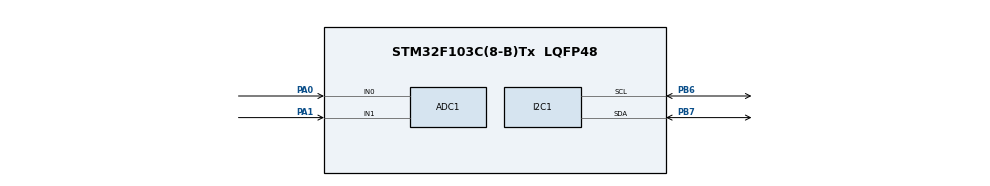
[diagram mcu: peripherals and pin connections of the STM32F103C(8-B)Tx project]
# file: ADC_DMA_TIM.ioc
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Mcu.Family=STM32F1
Dma.ADC1.0.Instance=DMA1_Channel1
ADC1.Rank-0\#ChannelRegularConversion=1
ADC1.ContinuousConvMode=ENABLE
ProjectManager.StackSize=0x400
PA0-WKUP.Signal=ADCx_IN0
PA13.Signal=SYS_JTMS-SWDIO
Dma.ADC1.0.PeriphDataAlignment=DMA_PDATAALIGN_HALFWORD
ProjectManager.TargetToolchain=STM32CubeIDE
Dma.ADC1.0.Mode=DMA_CIRCULAR
Dma.ADC1.0.Priority=DMA_PRIORITY_MEDIUM
PB6.Signal=I2C1_SCL
ADC1.Channel-1\#ChannelRegularConversion=ADC_CHANNEL_1
Dma.ADC1.0.Direction=DMA_PERIPH_TO_MEMORY
PB6.Mode=I2C
Dma.ADC1.0.MemDataAlignment=DMA_MDATAALIGN_HALFWORD
PA1.Signal=ADCx_IN1
ADC1.Channel-0\#ChannelRegularConversion=ADC_CHANNEL_0
board=custom
RCC.APB2Freq_Value=8000000
PA14.Mode=Serial_Wire
Dma.ADC1.0.PeriphInc=DMA_PINC_DISABLE
PB7.Signal=I2C1_SDA
SH.ADCx_IN0.0=ADC1_IN0,IN0
ADC1.NbrOfConversion=2
PA13.Mode=Serial_Wire
Mcu.Name=STM32F103C(8-B)Tx
ADC1.SamplingTime-0\#ChannelRegularConversion=ADC_SAMPLETIME_239CYCLES_5
ADC1.SamplingTime-1\#ChannelRegularConversion=ADC_SAMPLETIME_239CYCLES_5
Mcu.Package=LQFP48
ADC1.master=1
ADC1.Rank-1\#ChannelRegularConversion=2
PB7.Mode=I2C
PA14.Signal=SYS_JTCK-SWCLK
Dma.ADC1.0.MemInc=DMA_MINC_ENABLE
ProjectManager.HeapSize=0x200
NVIC.PriorityGroup=NVIC_PRIORITYGROUP_4
ADC1.NbrOfConversionFlag=1
SH.ADCx_IN1.0=ADC1_IN1,IN1
NVIC.DMA1_Channel1_IRQn=true\:0\:0\:false\:false\:true\:false\:true
Dma.Request0=ADC1
RCC.APB1Freq_Value=8000000

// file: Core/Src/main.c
/* USER CODE BEGIN Header */
/**
  ******************************************************************************
  * @file           : main.c
  * @brief          : Main program body
  ******************************************************************************
  * @attention
  *
  * <h2><center>&copy; Copyright (c) 2021 STMicroelectronics.
  * All rights reserved.</center></h2>
  *
  * This software component is licensed by ST under BSD 3-Clause license,
  * the "License"; You may not use this file except in compliance with the
  * License. You may obtain a copy of the License at:
  *                        opensource.org/licenses/BSD-3-Clause
  *
  ******************************************************************************
  */
/* USER CODE END Header */
#include "main.h"

/* USER CODE BEGIN Includes */
#include "lcd-i2c.h"
#include <stdio.h>
/* USER CODE END Includes */

ADC_HandleTypeDef hadc1;
DMA_HandleTypeDef hdma_adc1;

I2C_HandleTypeDef hi2c1;

/* USER CODE BEGIN PV */
volatile uint16_t adc[64] = {0};
volatile uint8_t flag = 0;
float adc_measure = 0;
float end_temp = 0;
float voltage = 0;

char number[20];
/* USER CODE END PV */

void SystemClock_Config(void);
static void MX_GPIO_Init(void);
static void MX_DMA_Init(void);
static void MX_ADC1_Init(void);
static void MX_I2C1_Init(void);
/* USER CODE BEGIN PFP */
void ADC_Display_Result(void);
/* USER CODE END PFP */

int main(void)
{

  /* MCU Configuration--------------------------------------------------------*/

  /* Reset of all peripherals, Initializes the Flash interface and the Systick. */
  HAL_Init();

  /* Configure the system clock */
  SystemClock_Config();

  /* Initialize all configured peripherals */
  MX_GPIO_Init();
  MX_DMA_Init();
  MX_ADC1_Init();
  MX_I2C1_Init();
  /* USER CODE BEGIN 2 */
  lcd_init();
  HAL_Delay(100);
  lcd_clear();
  HAL_Delay(100);
  lcd_send_string("    Welcome!");
  HAL_Delay(2800);
  lcd_clear();

  HAL_ADCEx_Calibration_Start(&hadc1);
  HAL_ADC_Start_DMA(&hadc1, (uint32_t*)&adc, 64);
  /* USER CODE END 2 */

  /* Infinite loop */
  /* USER CODE BEGIN WHILE */
  while (1)
  {
	  ADC_Display_Result();
    /* USER CODE END WHILE */

  }
}

void SystemClock_Config(void)
{
  RCC_OscInitTypeDef RCC_OscInitStruct = {0};
  RCC_ClkInitTypeDef RCC_ClkInitStruct = {0};
  RCC_PeriphCLKInitTypeDef PeriphClkInit = {0};

  /** Initializes the RCC Oscillators according to the specified parameters
  * in the RCC_OscInitTypeDef structure.
  */
  RCC_OscInitStruct.OscillatorType = RCC_OSCILLATORTYPE_HSI;
  RCC_OscInitStruct.HSIState = RCC_HSI_ON;
  RCC_OscInitStruct.HSICalibrationValue = RCC_HSICALIBRATION_DEFAULT;
  RCC_OscInitStruct.PLL.PLLState = RCC_PLL_NONE;
  if (HAL_RCC_OscConfig(&RCC_OscInitStruct) != HAL_OK)
  {
    Error_Handler();
  }
  /** Initializes the CPU, AHB and APB buses clocks
  */
  RCC_ClkInitStruct.ClockType = RCC_CLOCKTYPE_HCLK|RCC_CLOCKTYPE_SYSCLK
                              |RCC_CLOCKTYPE_PCLK1|RCC_CLOCKTYPE_PCLK2;
  RCC_ClkInitStruct.SYSCLKSource = RCC_SYSCLKSOURCE_HSI;
  RCC_ClkInitStruct.AHBCLKDivider = RCC_SYSCLK_DIV1;
  RCC_ClkInitStruct.APB1CLKDivider = RCC_HCLK_DIV1;
  RCC_ClkInitStruct.APB2CLKDivider = RCC_HCLK_DIV1;

  if (HAL_RCC_ClockConfig(&RCC_ClkInitStruct, FLASH_LATENCY_0) != HAL_OK)
  {
    Error_Handler();
  }
  PeriphClkInit.PeriphClockSelection = RCC_PERIPHCLK_ADC;
  PeriphClkInit.AdcClockSelection = RCC_ADCPCLK2_DIV2;
  if (HAL_RCCEx_PeriphCLKConfig(&PeriphClkInit) != HAL_OK)
  {
    Error_Handler();
  }
}

static void MX_ADC1_Init(void)
{

  ADC_ChannelConfTypeDef sConfig = {0};

  /** Common config
  */
  hadc1.Instance = ADC1;
  hadc1.Init.ScanConvMode = ADC_SCAN_ENABLE;
  hadc1.Init.ContinuousConvMode = ENABLE;
  hadc1.Init.DiscontinuousConvMode = DISABLE;
  hadc1.Init.ExternalTrigConv = ADC_SOFTWARE_START;
  hadc1.Init.DataAlign = ADC_DATAALIGN_RIGHT;
  hadc1.Init.NbrOfConversion = 2;
  if (HAL_ADC_Init(&hadc1) != HAL_OK)
  {
    Error_Handler();
  }
  /** Configure Regular Channel
  */
  sConfig.Channel = ADC_CHANNEL_0;
  sConfig.Rank = ADC_REGULAR_RANK_1;
  sConfig.SamplingTime = ADC_SAMPLETIME_239CYCLES_5;
  if (HAL_ADC_ConfigChannel(&hadc1, &sConfig) != HAL_OK)
  {
    Error_Handler();
  }
  /** Configure Regular Channel
  */
  sConfig.Channel = ADC_CHANNEL_1;
  sConfig.Rank = ADC_REGULAR_RANK_2;
  if (HAL_ADC_ConfigChannel(&hadc1, &sConfig) != HAL_OK)
  {
    Error_Handler();
  }

}

static void MX_I2C1_Init(void)
{

  hi2c1.Instance = I2C1;
  hi2c1.Init.ClockSpeed = 100000;
  hi2c1.Init.DutyCycle = I2C_DUTYCYCLE_2;
  hi2c1.Init.OwnAddress1 = 0;
  hi2c1.Init.AddressingMode = I2C_ADDRESSINGMODE_7BIT;
  hi2c1.Init.DualAddressMode = I2C_DUALADDRESS_DISABLE;
  hi2c1.Init.OwnAddress2 = 0;
  hi2c1.Init.GeneralCallMode = I2C_GENERALCALL_DISABLE;
  hi2c1.Init.NoStretchMode = I2C_NOSTRETCH_DISABLE;
  if (HAL_I2C_Init(&hi2c1) != HAL_OK)
  {
    Error_Handler();
  }

}

static void MX_DMA_Init(void)
{

  /* DMA controller clock enable */
  __HAL_RCC_DMA1_CLK_ENABLE();

  /* DMA interrupt init */
  /* DMA1_Channel1_IRQn interrupt configuration */
  HAL_NVIC_SetPriority(DMA1_Channel1_IRQn, 0, 0);
  HAL_NVIC_EnableIRQ(DMA1_Channel1_IRQn);

}

static void MX_GPIO_Init(void)
{

  /* GPIO Ports Clock Enable */
  __HAL_RCC_GPIOA_CLK_ENABLE();
  __HAL_RCC_GPIOB_CLK_ENABLE();

}

/* USER CODE BEGIN 4 */
void HAL_ADC_ConvCpltCallback(ADC_HandleTypeDef* hadc)
{
    if(hadc->Instance == ADC1)
    {
        flag = 1;
    }
}

void ADC_Display_Result(void)
{
	if(flag)
	  {
	        flag = 0;
	        adc_measure = 0;

	        for (int i = 0; i<64; i++)
	        {
	        	adc_measure += adc[i];
	        }
	        adc_measure = adc_measure / 64.0;

	        voltage = adc_measure * (3.3/4096);

	        end_temp = (voltage * 1000 - 500) / 10.0;

	        HAL_Delay(1);

	        lcd_put_cur(0,0);
	        sprintf(number, "Volt:  %.4f V", voltage);
	        lcd_send_string(number);

	        HAL_Delay(1);
	        lcd_put_cur(1,0);

	        sprintf(number, "Temp:  %.2f *C",  end_temp);
	        lcd_send_string(number);
	  }
}
/* USER CODE END 4 */

void Error_Handler(void)
{
  __disable_irq();
  while (1)
  {
  }
}

/************************ (C) COPYRIGHT STMicroelectronics *****END OF FILE****/
